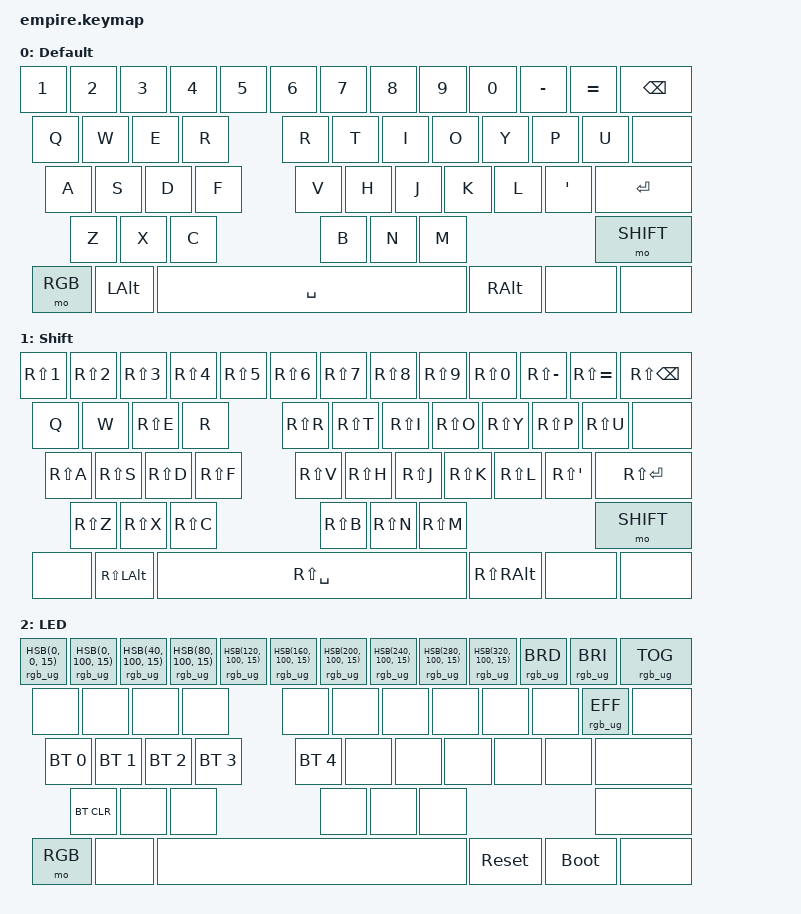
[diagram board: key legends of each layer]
#include <behaviors.dtsi>
#include <dt-bindings/zmk/keys.h>
#include <dt-bindings/zmk/bt.h>
#include <dt-bindings/zmk/outputs.h>
#include <dt-bindings/zmk/ext_power.h>
#include <dt-bindings/zmk/rgb.h>

#define DEF		0
#define SHIFT	1
#define RGB		2
#define led		&rgb_ug
#define HSB		RGB_COLOR_HSB

#define xxx		&none	
#define ___		&trans


/ {

	keymap {
		compatible = "zmk,keymap";

		default_layer { 
			display-name = "Default";
			bindings = <
&kp N1		  &kp N2		&kp N3		  &kp N4		&kp N5		  &kp N6		&kp N7		  &kp N8		&kp N9		  &kp N0		&kp MINUS	  &kp EQUAL		&kp BSPC
&kp Q		  &kp W			&kp E		  &kp R						  &kp R			&kp T		  &kp I			&kp O		  &kp Y			&kp P		  &kp U			xxx
&kp A		  &kp S			&kp D		  &kp F						  &kp V			&kp H		  &kp J			&kp K		  &kp L			&kp APOS					&kp ENTER
&kp Z		  &kp X			&kp C		  							  &kp B			&kp N		  &kp M													  				&mo SHIFT
&mo RGB	  	  &kp LALT												  &kp SPACE												  &kp RALT		xxx							xxx
			>;
		};
	
		shift_layer { 
			display-name = "Shift";
			bindings = <
&kp RS(N1)	  &kp RS(N2)	&kp RS(N3)	  &kp RS(N4)	&kp RS(N5)	  &kp RS(N6)	&kp RS(N7)	  &kp RS(N8)	&kp RS(N9)	  &kp RS(N0)	&kp RS(MINUS) &kp RS(EQUAL)	&kp RS(BSPC)
&kp Q		  &kp W			&kp RS(E)	  &kp R						  &kp RS(R)		&kp RS(T)	  &kp RS(I)		&kp RS(O)	  &kp RS(Y)		&kp RS(P)	  &kp RS(U)		xxx
&kp RS(A)	  &kp RS(S)		&kp RS(D)	  &kp RS(F)					  &kp RS(V)		&kp RS(H)	  &kp RS(J)		&kp RS(K)	  &kp RS(L)		&kp RS(APOS)				&kp RS(ENTER)
&kp RS(Z)	  &kp RS(X)		&kp RS(C)		  						  &kp RS(B)		&kp RS(N)	  &kp RS(M)																&mo SHIFT
xxx			  &kp RS(LALT)											  &kp RS(SPACE)											  &kp RS(RALT)	xxx							xxx
			>;
		};

		LED_layer { 
			display-name = "LED";
			bindings = <
led HSB(0, 0, 15)	led HSB(0, 100, 15)		led HSB(40, 100, 15)	led HSB(80, 100, 15)	led HSB(120, 100, 15)	led HSB(160, 100, 15)	led HSB(200, 100, 15)	led HSB(240, 100, 15)	led HSB(280, 100, 15)	led HSB(320, 100, 15)	led RGB_BRD		led RGB_BRI		led RGB_TOG
xxx					xxx						xxx						xxx												xxx						xxx						xxx						xxx						xxx						xxx				led RGB_EFF		xxx				
&bt BT_SEL 0		&bt BT_SEL 1			&bt BT_SEL 2			&bt BT_SEL 3									&bt BT_SEL 4			xxx						xxx						xxx						xxx						xxx								xxx
&bt BT_CLR			xxx						xxx																		xxx						xxx						xxx																										xxx
&mo RGB				xxx																								xxx																								&sys_reset				&bootloader						xxx
			>;
		};

/* Layer + underglow color

To trigger a different underglow when the macro is pressed, and when it is released, we use the macro "press" activation mode whenever triggering the &rgb_ug behavior:

wait-ms = <0>;
tap-ms = <0>;
bindings
    = <&macro_press &mo 1>
    , <&macro_tap &rgb_ug RGB_COLOR_HSB(128,100,100)>
    , <&macro_pause_for_release>
    , <&macro_release &mo 1>
    , <&macro_tap &rgb_ug RGB_COLOR_HSB(300,100,50)>; */

// [0] = LAYOUT_default( /* Base */
// 		KC_1,		KC_2,	KC_3,	KC_4,	KC_5,	KC_6,	KC_7,	KC_8,	KC_9,	KC_0,		KC_MINS,	KC_EQL,	KC_BSPC,
// 		KC_Q,		KC_W,	KC_E,	KC_R,			KC_R,	KC_T,   KC_I,	KC_O,	KC_Y,		KC_P,		KC_NO,  KC_NO,
// 		KC_A,		KC_S,	KC_D,	KC_F,			KC_V,	KC_H,   KC_J,	KC_K,	KC_L,		KC_QUOT,			KC_ENT,
// 		KC_Z,		KC_X,	KC_C,					KC_B,   KC_N,	KC_M,									        MO(1),
// 		MO(1),	    KC_LALT,				KC_SPC,									KC_RALT,	KC_NO,			KC_RCTL
//     ),

//     [1] = LAYOUT_default( /* Shift */
//         S(KC_1),	S(KC_2),	S(KC_3),	S(KC_4),	S(KC_5),	S(KC_6),	S(KC_7),	S(KC_8),	S(KC_9),	S(KC_0),	S(KC_MINS),	S(KC_EQL),	S(KC_BSPC),
//         KC_Q,		KC_W,		S(KC_E),	KC_R,		            S(KC_R),	S(KC_T),	S(KC_I),	S(KC_O),	S(KC_Y),	S(KC_P),	KC_NO,      KC_NO,
//         S(KC_A),	S(KC_S),	S(KC_D),	S(KC_F),			    S(KC_V),	S(KC_H),	S(KC_J),    S(KC_K),	S(KC_L),	S(KC_QUOT),				S(KC_ENT),
//         S(KC_Z),	S(KC_X),	S(KC_C),							S(KC_B),    S(KC_N),	S(KC_M),            										MO(1),
// 			MO(1),  	S(KC_LALT),							S(KC_SPC),													S(KC_RALT),	KC_NO,		    		S(KC_RCTL)
//     ),

	
	};
};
